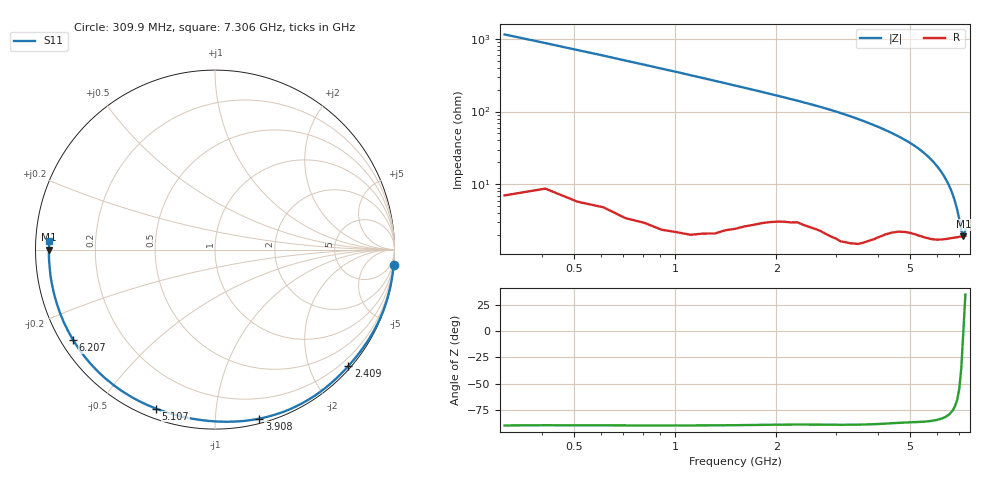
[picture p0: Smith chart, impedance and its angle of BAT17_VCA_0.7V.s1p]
! Infineon Technologies  Discrete & RF Semiconductors
! BAT17
! VCA = 0.7 V
! One-Port S-Parameters
# Hz  S  MA  R  50
!f  S11
!Hz  Mag  Ang
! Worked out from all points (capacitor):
!   71 points, 309.9 MHz to 7.306 GHz, reference 50 ohm
!   read as one part to ground: C = 445 fF near 309.9 MHz
!   lowest |Z| = 1.94 ohm at 7.206 GHz (marker M1)
!   series resonance near 7.206 GHz, so ESL is about 1.1 nH
!   S11 on the Smith chart (normalised r, x): 309.9 MHz: 0, -23; 2.409 GHz: 0.06, -2.67; 3.908 GHz: 0.04, -1.29; 5.107 GHz: 0.04, -0.70; 6.207 GHz: 0.04, -0.29; 7.306 GHz: 0.04, +0.03
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3.0985e8  0.9995 -5.0
8.096e8  0.9985 -13.0
1.2094e9  0.9975 -19.7
1.6092e9  0.9944 -26.6
2.10895e9  0.9887 -35.5
2.4088e9  0.9864 -41.1
2.70865e9  0.9857 -46.8
3.0085e9  0.9857 -53.2
3.2084e9  0.9851 -57.8
3.4083e9  0.9836 -62.5
3.6082e9  0.9808 -67.5
3.8081e9  0.9762 -72.7
3.90805e9  0.9739 -75.3
4.10795e9  0.9678 -80.8
4.30785e9  0.9612 -86.3
4.50775e9  0.9554 -92.1
4.70765e9  0.9504 -98.0
4.90755e9  0.9469 -104.1
5.10745e9  0.9451 -110.3
5.30735e9  0.9442 -116.8
5.6072e9  0.9429 -126.9
5.90705e9  0.9409 -137.3
6.2069e9  0.9374 -147.6
6.50675e9  0.9329 -157.7
6.8066e9  0.9289 -167.5
7.0065e9  0.9267 -173.8
7.2064e9  0.9253 180.0
7.30635e9  0.9245 176.9
